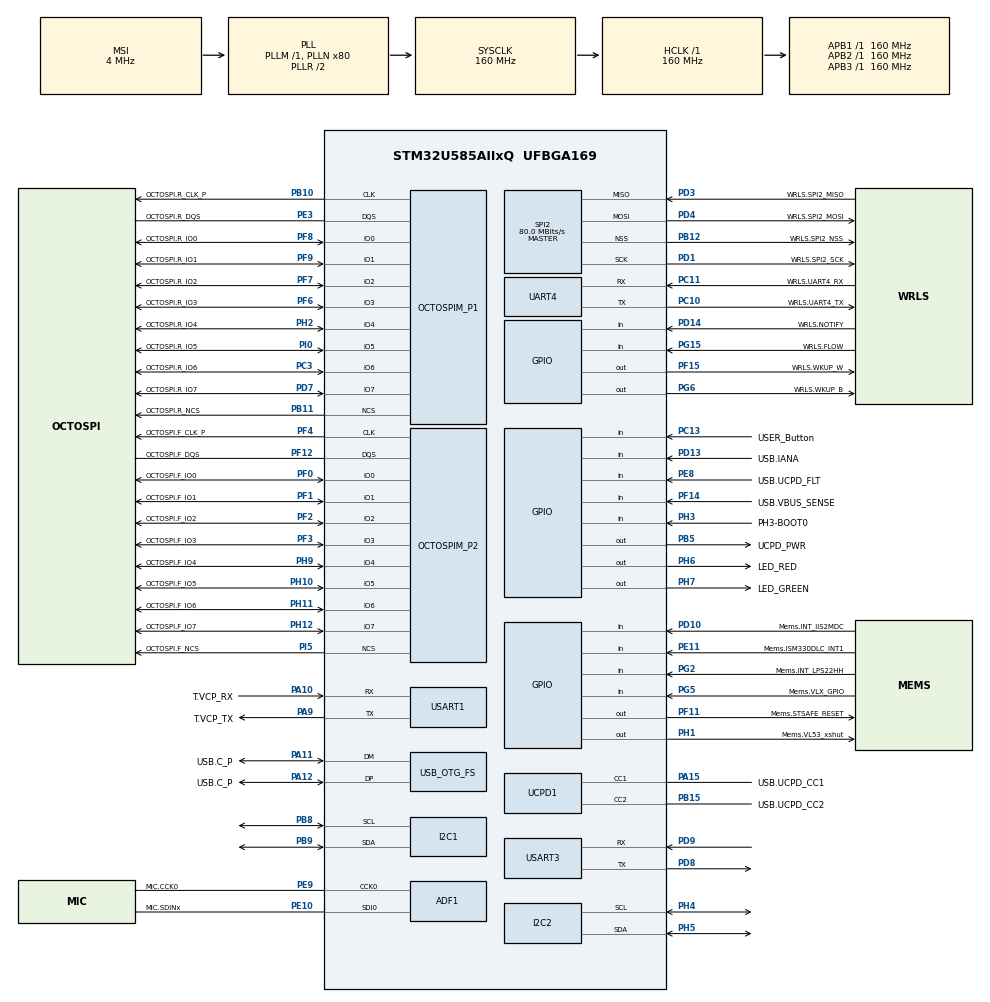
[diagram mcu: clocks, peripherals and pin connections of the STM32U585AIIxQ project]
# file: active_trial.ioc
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CORTEX_M33_NS.userName=CORTEX_M33
I2C1.Timing=0x30909DEC
I2C2.Timing=0x30909DEC
Mcu.Family=STM32U5
Mcu.Name=STM32U585AIIxQ
Mcu.Package=UFBGA169
NVIC.PriorityGroup=NVIC_PRIORITYGROUP_4
OCTOSPI1.ChipSelectBoundary=10
OCTOSPI1.ClockPrescaler=2
OCTOSPI1.DelayBlockBypass=HAL_OSPI_DELAY_BLOCK_USED
OCTOSPI1.DelayHoldQuarterCycle=HAL_OSPI_DHQC_ENABLE
OCTOSPI1.DeviceSize=23
OCTOSPI1.MemoryType=HAL_OSPI_MEMTYPE_APMEMORY
OCTOSPI1.Refresh=100
OCTOSPI2.ChipSelectBoundary=0
OCTOSPI2.ChipSelectHighTime=2
OCTOSPI2.ClockPrescaler=4
OCTOSPI2.DelayBlockBypass=HAL_OSPI_DELAY_BLOCK_USED
OCTOSPI2.DelayHoldQuarterCycle=HAL_OSPI_DHQC_ENABLE
OCTOSPI2.DeviceSize=26
OCTOSPI2.FifoThreshold=4
OCTOSPI2.MemoryType=HAL_OSPI_MEMTYPE_MACRONIX
PA10.GPIO_Label=T.VCP_RX
PA10.Mode=Asynchronous
PA10.Signal=USART1_RX
PA11.GPIO_Label=USB.C_P
PA11.Mode=Device_Only
PA11.Signal=USB_OTG_FS_DM
PA12.GPIO_Label=USB.C_P
PA12.Mode=Device_Only
PA12.Signal=USB_OTG_FS_DP
PA13\ (JTMS/SWDIO).GPIO_Label=T.SWDIO
PA13\ (JTMS/SWDIO).Mode=Trace_Asynchronous_SW
PA13\ (JTMS/SWDIO).Signal=DEBUG_JTMS-SWDIO
PA14\ (JTCK/SWCLK).GPIO_Label=T.SWCLK
PA14\ (JTCK/SWCLK).Mode=Trace_Asynchronous_SW
PA14\ (JTCK/SWCLK).Signal=DEBUG_JTCK-SWCLK
PA15\ (JTDI).GPIO_Label=USB.UCPD_CC1
PA15\ (JTDI).Mode=Dual_Role_AllSignals
PA15\ (JTDI).Signal=UCPD1_CC1
PA9.GPIO_Label=T.VCP_TX
PA9.Mode=Asynchronous
PA9.Signal=USART1_TX
PB1.GPIO_Label=MIC.SDIN0
PB1.Signal=MDF1_SDI0
PB10.GPIO_Label=OCTOSPI.R_CLK_P
PB10.Mode=O1_P1_CLK
PB10.Signal=OCTOSPIM_P1_CLK
PB11.GPIO_Label=OCTOSPI.R_NCS
PB11.Mode=OCTOSPI1_Port1_NCS
PB11.Signal=OCTOSPIM_P1_NCS
PB12.GPIO_Label=WRLS.SPI2_NSS
PB12.Mode=NSS_Signal_Hard_Output
PB12.Signal=SPI2_NSS
PB15.GPIO_Label=USB.UCPD_CC2
PB15.Mode=Dual_Role_AllSignals
PB15.Signal=UCPD1_CC2
PB3\ (JTDO/TRACESWO).GPIO_Label=T.SWO
PB3\ (JTDO/TRACESWO).Mode=Trace_Asynchronous_SW
PB3\ (JTDO/TRACESWO).Signal=DEBUG_JTDO-SWO
PB5.GPIO_Label=UCPD_PWR
PB5.Signal=GPIO_Output
PB8.Mode=I2C
PB8.Signal=I2C1_SCL
PB9.Mode=I2C
PB9.Signal=I2C1_SDA
PC10.GPIO_Label=WRLS.UART4_TX
PC10.Mode=Asynchronous
PC10.Signal=UART4_TX
PC11.GPIO_Label=WRLS.UART4_RX
PC11.Mode=Asynchronous
PC11.Signal=UART4_RX
PC13.GPIO_Label=USER_Button
PC13.Signal=GPIO_Input
PC14-OSC32_IN\ (PC14).GPIO_Label=PC14-OSC32_IN
PC14-OSC32_IN\ (PC14).Mode=LSE-External-Oscillator
PC14-OSC32_IN\ (PC14).Signal=RCC_OSC32_IN
PC15-OSC32_OUT\ (PC15).GPIO_Label=PC15-OSC32_OUT
PC15-OSC32_OUT\ (PC15).Mode=LSE-External-Oscillator
PC15-OSC32_OUT\ (PC15).Signal=RCC_OSC32_OUT
PC3.GPIO_Label=OCTOSPI.R_IO6
PC3.Mode=OCTOSPI1_IOH_Port1H
PC3.Signal=OCTOSPIM_P1_IO6
PD1.GPIO_Label=WRLS.SPI2_SCK
PD1.Mode=Full_Duplex_Master
PD1.Signal=SPI2_SCK
PD10.GPIO_Label=Mems.INT_IIS2MDC
PD10.Signal=GPIO_Input
PD13.GPIO_Label=USB.IANA
PD13.Signal=GPIO_Input
PD14.GPIO_Label=WRLS.NOTIFY
PD14.Signal=GPIO_Input
PD3.GPIO_Label=WRLS.SPI2_MISO
PD3.Mode=Full_Duplex_Master
PD3.Signal=SPI2_MISO
PD4.GPIO_Label=WRLS.SPI2_MOSI
PD4.Mode=Full_Duplex_Master
PD4.Signal=SPI2_MOSI
PD7.GPIO_Label=OCTOSPI.R_IO7
PD7.Mode=OCTOSPI1_IOH_Port1H
PD7.Signal=OCTOSPIM_P1_IO7
PD8.Mode=Asynchronous
PD8.Signal=USART3_TX
PD9.Mode=Asynchronous
PD9.Signal=USART3_RX
PE10.GPIO_Label=MIC.SDINx
PE10.Mode=MOD_ADF_CCK
PE10.Signal=ADF1_SDI0
PE11.GPIO_Label=Mems.ISM330DLC_INT1
PE11.Signal=GPIO_Input
PE3.GPIO_Label=OCTOSPI.R_DQS
PE3.Mode=OCTOSPI1_Port1_DQS
PE3.Signal=OCTOSPIM_P1_DQS
PE8.GPIO_Label=USB.UCPD_FLT
PE8.Signal=GPIO_Input
PE9.GPIO_Label=MIC.CCK0
PE9.Mode=MOD_MDF_CCK0
PE9.Signal=ADF1_CCK0
PF0.GPIO_Label=OCTOSPI.F_IO0
PF0.Mode=OCTOSPI2_IOL_Port2L
PF0.Signal=OCTOSPIM_P2_IO0
PF1.GPIO_Label=OCTOSPI.F_IO1
PF1.Mode=OCTOSPI2_IOL_Port2L
PF1.Signal=OCTOSPIM_P2_IO1
PF10.GPIO_Label=MIC.CCK1
PF10.Signal=MDF1_CCK1
PF11.GPIO_Label=Mems.STSAFE_RESET
PF11.Signal=GPIO_Output
PF12.GPIO_Label=OCTOSPI.F_DQS
PF12.Mode=OCTOSPI2_Port2_DQS
PF12.Signal=OCTOSPIM_P2_DQS
PF14.GPIO_Label=USB.VBUS_SENSE
PF14.Signal=GPIO_Input
PF15.GPIO_Label=WRLS.WKUP_W
PF15.Signal=GPIO_Output
PF2.GPIO_Label=OCTOSPI.F_IO2
PF2.Mode=OCTOSPI2_IOL_Port2L
PF2.Signal=OCTOSPIM_P2_IO2
PF3.GPIO_Label=OCTOSPI.F_IO3
PF3.Mode=OCTOSPI2_IOL_Port2L
PF3.Signal=OCTOSPIM_P2_IO3
PF4.GPIO_Label=OCTOSPI.F_CLK_P
PF4.Mode=O2_P2_CLK
PF4.Signal=OCTOSPIM_P2_CLK
PF6.GPIO_Label=OCTOSPI.R_IO3
PF6.Mode=OCTOSPI1_IOL_Port1L
PF6.Signal=OCTOSPIM_P1_IO3
PF7.GPIO_Label=OCTOSPI.R_IO2
PF7.Mode=OCTOSPI1_IOL_Port1L
PF7.Signal=OCTOSPIM_P1_IO2
PF8.GPIO_Label=OCTOSPI.R_IO0
PF8.Mode=OCTOSPI1_IOL_Port1L
PF8.Signal=OCTOSPIM_P1_IO0
PF9.GPIO_Label=OCTOSPI.R_IO1
PF9.Mode=OCTOSPI1_IOL_Port1L
PF9.Signal=OCTOSPIM_P1_IO1
PG15.GPIO_Label=WRLS.FLOW
PG15.Signal=GPIO_Input
PG2.GPIO_Label=Mems.INT_LPS22HH
PG2.Signal=GPIO_Input
PG5.GPIO_Label=Mems.VLX_GPIO
PG5.Signal=GPIO_Input
PG6.GPIO_Label=WRLS.WKUP_B
PG6.Signal=GPIO_Output
PH1-OSC_OUT\ (PH1).GPIO_Label=Mems.VL53_xshut
PH1-OSC_OUT\ (PH1).Signal=GPIO_Output
PH10.GPIO_Label=OCTOSPI.F_IO5
PH10.Mode=OCTOSPI2_IOH_Port2H
PH10.Signal=OCTOSPIM_P2_IO5
PH11.GPIO_Label=OCTOSPI.F_IO6
PH11.Mode=OCTOSPI2_IOH_Port2H
PH11.Signal=OCTOSPIM_P2_IO6
PH12.GPIO_Label=OCTOSPI.F_IO7
PH12.Mode=OCTOSPI2_IOH_Port2H
PH12.Signal=OCTOSPIM_P2_IO7
PH2.GPIO_Label=OCTOSPI.R_IO4
PH2.Mode=OCTOSPI1_IOH_Port1H
PH2.Signal=OCTOSPIM_P1_IO4
PH3-BOOT0.GPIO_Label=PH3-BOOT0
PH3-BOOT0.Signal=GPIO_Input
PH4.Mode=I2C
PH4.Signal=I2C2_SCL
PH5.Mode=I2C
PH5.Signal=I2C2_SDA
PH6.GPIO_Label=LED_RED
PH6.Signal=GPIO_Output
PH7.GPIO_Label=LED_GREEN
PH7.Signal=GPIO_Output
PH9.GPIO_Label=OCTOSPI.F_IO4
PH9.Mode=OCTOSPI2_IOH_Port2H
PH9.Signal=OCTOSPIM_P2_IO4
PI0.GPIO_Label=OCTOSPI.R_IO5
PI0.Mode=OCTOSPI1_IOH_Port1H
PI0.Signal=OCTOSPIM_P1_IO5
PI5.GPIO_Label=OCTOSPI.F_NCS
PI5.Mode=OCTOSPI2_Port2_NCS
PI5.Signal=OCTOSPIM_P2_NCS
PWR.PowerMode=PWR_SMPS_SUPPLY
ProjectManager.HeapSize=0x200
ProjectManager.StackSize=0x400
ProjectManager.TargetToolchain=STM32CubeIDE
RCC.ADCFreq_Value=16000000
RCC.AHBFreq_Value=160000000
RCC.APB1Freq_Value=160000000
RCC.APB1TimFreq_Value=160000000
RCC.APB2Freq_Value=160000000
RCC.APB2TimFreq_Value=160000000
RCC.APB3Freq_Value=160000000
RCC.CortexFreq_Value=160000000
RCC.DACCLockSelectionVirtual=RCC_DAC1CLKSOURCE_LSI
RCC.EPOD_VALUE=4000000
RCC.HCLKFreq_Value=160000000
RCC.HSE_VALUE=16000000
RCC.HSI48_VALUE=48000000
RCC.HSI_VALUE=16000000
RCC.LSIDIV_VALUE=32000
RCC.MSI_VALUE=4000000
RCC.PLLN=80
RCC.SYSCLKFreq_VALUE=160000000
RCC.SYSCLKSource=RCC_SYSCLKSOURCE_PLLCLK
RCC.USBFreq_Value=48000000
RCC.VCOOutputFreq_Value=320000000
SPI2.CalculateBaudRate=80.0 MBits/s
SPI2.Direction=SPI_DIRECTION_2LINES
SPI2.Mode=SPI_MODE_MASTER
SPI2.VirtualNSS=VM_NSSHARD
SPI2.VirtualType=VM_MASTER
USART1.VirtualMode-Asynchronous=VM_ASYNC
USART3.VirtualMode-Asynchronous=VM_ASYNC
USB_OTG_FS.VirtualMode=Device_Only
VP_ICACHE_VS_ICACHE.Mode=DirectMappedCache
VP_LPBAMQUEUE_VS_QUEUE.Mode=QUEUEMODE
VP_LPBAM_VS_SIG1.Mode=SmartRun
VP_LPBAM_VS_SIG4.Mode=LPDMA1
VP_MEMORYMAP_VS_MEMORYMAP.Mode=CurAppReg
VP_OCTOSPI1_VS_octo.Mode=octo_mode
VP_OCTOSPI2_VS_octo.Mode=octo_mode
VP_PWR_VS_DBSignals.Mode=DisableDeadBatterySignals
VP_PWR_VS_LPOM.Mode=PowerOptimisation
VP_PWR_VS_SECSignals.Mode=Security/Privilege
board=B-U585I-IOT02A

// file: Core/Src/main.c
/* USER CODE BEGIN Header */
/**
  ******************************************************************************
  * @file           : main.c
  * @brief          : Main program body
  ******************************************************************************
  * @attention
  *
  * Copyright (c) 2026 STMicroelectronics.
  * All rights reserved.
  *
  * This software is licensed under terms that can be found in the LICENSE file
  * in the root directory of this software component.
  * If no LICENSE file comes with this software, it is provided AS-IS.
  *
  ******************************************************************************
  */
/* USER CODE END Header */
#include "main.h"

MDF_HandleTypeDef AdfHandle0;
MDF_FilterConfigTypeDef AdfFilterConfig0;

I2C_HandleTypeDef hi2c1;
I2C_HandleTypeDef hi2c2;

OSPI_HandleTypeDef hospi1;
OSPI_HandleTypeDef hospi2;

SPI_HandleTypeDef hspi2;

UART_HandleTypeDef huart4;
UART_HandleTypeDef huart1;
UART_HandleTypeDef huart3;

PCD_HandleTypeDef hpcd_USB_OTG_FS;

/* USER CODE BEGIN PV */
/* USART3 Logic Analyzer Test - B-U585I-IOT02A */
#define TEST_PATTERN_INTERVAL  100U    /* ms between test patterns */

/* Dashboard output every N patterns */
#define DASHBOARD_INTERVAL     500U    /* ms between full dashboards */
#define BYTE_DISPLAY_INTERVAL  50U     /* ms between byte updates */

typedef enum {
    TEST_PATTERN_0x55 = 0,
    TEST_PATTERN_0xAA = 1,
    TEST_PATTERN_0xFF = 2,
    TEST_PATTERN_0x00 = 3,
    TEST_PATTERN_COUNTER = 4,
    TEST_PATTERN_ASCII = 5
} test_pattern_t;

static uint8_t rx_byte;
static test_pattern_t current_pattern = TEST_PATTERN_0x55;
static uint32_t last_pattern_tick = 0U;
static uint8_t test_counter = 0;
static char test_string[] = "LOGIC_ANALYZER_TEST\r\n";
static uint16_t test_string_idx = 0;
static uint32_t dash_counter = 0;

/* USER CODE END PV */

void SystemClock_Config(void);
static void SystemPower_Config(void);
static void MX_GPIO_Init(void);
static void MX_ADF1_Init(void);
static void MX_I2C1_Init(void);
static void MX_I2C2_Init(void);
static void MX_ICACHE_Init(void);
static void MX_OCTOSPI1_Init(void);
static void MX_OCTOSPI2_Init(void);
static void MX_SPI2_Init(void);
static void MX_UART4_Init(void);
static void MX_USART1_UART_Init(void);
static void MX_UCPD1_Init(void);
static void MX_USB_OTG_FS_PCD_Init(void);
static void MX_USART3_UART_Init(void);
/* USER CODE BEGIN PFP */

/* Pattern senders are inline in main loop now */

/* USER CODE END PFP */

int main(void)
{

  /* MCU Configuration--------------------------------------------------------*/

  /* Reset of all peripherals, Initializes the Flash interface and the Systick. */
  HAL_Init();

  /* Configure the System Power */
  SystemPower_Config();

  /* Configure the system clock */
  SystemClock_Config();

  /* Initialize all configured peripherals */
  MX_GPIO_Init();
  MX_ADF1_Init();
  MX_I2C1_Init();
  MX_I2C2_Init();
  MX_ICACHE_Init();
  MX_OCTOSPI1_Init();
  MX_OCTOSPI2_Init();
  MX_SPI2_Init();
  MX_UART4_Init();
  MX_USART1_UART_Init();
  MX_UCPD1_Init();
  MX_USB_OTG_FS_PCD_Init();
  MX_USART3_UART_Init();
  /* USER CODE BEGIN 2 */
  /* Fun startup banner via USART3 + USART1 (VCP) */
  const char *startup_lines[] = {
    "\r\n",
    "  _   _  ____   _  _  ____   ___  ____  ___  ____\r\n",
    " | \\ | |/ ___| | || || ___| / _ \\|  _ \\|_ _||  _ \\  \r\n",
    " |  \\| |\\___ \\ | || |||__  | | | | |_) || | | | | |\r\n",
    " |_|\\__||____| |_||_||____||_|_|_|____/|___||_| |_|\r\n",
    "       ANALYZER  -  LIVE DASHBOARD -\r\n",
    " ==================================================\r\n",
    "  Board  : B-U585I-IOT02A IoT Discovery\r\n",
    "  UART   : USART3  (PD8=TX, PD9=RX)\r\n",
    "  Speed  : 115200 baud  8N1\r\n",
    "  Probes : CH0=D8  CH1=D9  GND=GND\r\n",
    " ==================================================\r\n",
    "  Patterns cycling: 0x55 | 0xAA | 0xFF | 0x00 | CNT | ASCII\r\n",
    "  HIL Ready! Watching signals now...\r\n",
    " ==================================================\r\n\r\n",
  };
  for (size_t i = 0; i < sizeof(startup_lines)/sizeof(startup_lines[0]); i++) {
    size_t len = 0; while (startup_lines[i][len]) len++;
    (void)HAL_UART_Transmit(&huart3, (uint8_t *)startup_lines[i], len, HAL_MAX_DELAY);
    (void)HAL_UART_Transmit(&huart1, (uint8_t *)startup_lines[i], len, HAL_MAX_DELAY);
  }
  /* USER CODE END 2 */

  /* Infinite loop */
  while (1)
  {

    /* USER CODE BEGIN 3 */
    /* Poll for incoming USART3 RX byte (non-blocking) */
    if (HAL_UART_Receive(&huart3, &rx_byte, 1, 0) == HAL_OK)
    {
      /* Echo received byte */
      (void)HAL_UART_Transmit(&huart3, &rx_byte, 1, HAL_MAX_DELAY);
      (void)HAL_UART_Transmit(&huart1, &rx_byte, 1, HAL_MAX_DELAY);

      /* Change pattern based on received command (keys '0'-'5') */
      if (rx_byte >= '0' && rx_byte <= '5')
      {
        current_pattern = (test_pattern_t)(rx_byte - '0');
      }
    }

    /* Send live visual dashboard every TEST_PATTERN_INTERVAL ms */
    uint32_t now = HAL_GetTick();
    if ((now - last_pattern_tick) >= TEST_PATTERN_INTERVAL)
    {
      last_pattern_tick = now;

      /* Build compact visual dashboard: [0x55] H=55 B=01010101 'U' WF=-_-_-_-_-_  #047\r\n */
      uint8_t dash_buf[64];
      uint8_t dl = 0;

      /* Helper: add one char to buffer */
      #define DASH(c) do { if (dl < 62) dash_buf[dl++] = (c); } while(0)

      /* Determine pattern name and byte value */
      const uint8_t *pname;
      uint8_t bval;
      switch (current_pattern)
      {
        case TEST_PATTERN_0x55:  pname = (uint8_t *)"[0x55]"; bval = 0x55; break;
        case TEST_PATTERN_0xAA:  pname = (uint8_t *)"[0xAA]"; bval = 0xAA; break;
        case TEST_PATTERN_0xFF:  pname = (uint8_t *)"[0xFF]"; bval = 0xFF; break;
        case TEST_PATTERN_0x00:  pname = (uint8_t *)"[0x00]"; bval = 0x00; break;
        case TEST_PATTERN_COUNTER: {
          uint8_t hi = (test_counter >> 4) & 0x0F;
          uint8_t lo = test_counter & 0x0F;
          char h0 = (hi < 10) ? ('0' + hi) : ('A' + hi - 10);
          char h1 = (lo < 10) ? ('0' + lo) : ('A' + lo - 10);
          DASH('['); DASH('C'); DASH('N'); DASH('T'); DASH(']'); DASH(' ');
          DASH(h0); DASH(h1); DASH(' ');
          DASH('\r'); DASH('\n');
          (void)HAL_UART_Transmit(&huart3, dash_buf, dl, HAL_MAX_DELAY);
          (void)HAL_UART_Transmit(&huart1, dash_buf, dl, HAL_MAX_DELAY);
          test_counter++;
          goto cycle_next;
        }
        case TEST_PATTERN_ASCII: {
          uint8_t c = (uint8_t)test_string[test_string_idx];
          DASH('['); DASH('A'); DASH('S'); DASH('C'); DASH('I'); DASH('I'); DASH(']');
          DASH(' ');
          DASH(c);  /* raw ASCII char */
          DASH(' ');
          DASH('\r'); DASH('\n');
          (void)HAL_UART_Transmit(&huart3, dash_buf, dl, HAL_MAX_DELAY);
          (void)HAL_UART_Transmit(&huart1, dash_buf, dl, HAL_MAX_DELAY);
          test_string_idx++;
          if (test_string_idx >= sizeof(test_string)) test_string_idx = 0;
          goto cycle_next;
        }
        default: pname = (uint8_t *)"[????]"; bval = 0x00; break;
      }

      /* Copy pattern name */
      for (uint8_t i = 0; pname[i]; i++) DASH(pname[i]);
      DASH(' ');

      /* Hex value (2 chars) */
      uint8_t hi = (bval >> 4) & 0x0F;
      uint8_t lo = bval & 0x0F;
      DASH(hi < 10 ? ('0' + hi) : ('A' + hi - 10));
      DASH(lo < 10 ? ('0' + lo) : ('A' + lo - 10));
      DASH(' ');

      /* Binary: 8 bits */
      for (int8_t bit = 7; bit >= 0; bit--) {
        DASH((bval & (1u << bit)) ? '1' : '0');
      }
      DASH(' ');

      /* ASCII char */
      if (32 <= bval && bval < 127) {
        DASH('\''); DASH(bval); DASH('\'');
      } else {
        DASH('.'); DASH('.');
      }
      DASH(' ');

      /* Waveform: start + 8 data + stop bits as _/- chars */
      DASH('_');  /* start bit = low */
      for (uint8_t bit = 0; bit < 8; bit++) {
        DASH((bval & (1u << bit)) ? '-' : '_');
      }
      DASH('-');  /* stop bit = high */

      /* Step counter */
      DASH(' '); DASH('#');
      uint32_t dc = dash_counter;
      if (dc >= 1000) { DASH('K'); dc /= 1000; }
      char cnt_buf[8];
      uint8_t cb_len = 0;
      if (dc >= 100) { cnt_buf[cb_len++] = '0' + dc / 100; dc %= 100; }
      if (dc >= 10 || cb_len > 0) { cnt_buf[cb_len++] = '0' + dc / 10; dc %= 10; }
      cnt_buf[cb_len++] = '0' + dc;
      for (uint8_t i = 0; i < cb_len; i++) DASH(cnt_buf[i]);

      DASH('\r'); DASH('\n');

      (void)HAL_UART_Transmit(&huart3, dash_buf, dl, HAL_MAX_DELAY);
      (void)HAL_UART_Transmit(&huart1, dash_buf, dl, HAL_MAX_DELAY);

cycle_next:
      current_pattern = (test_pattern_t)((current_pattern + 1) % 6);
      dash_counter++;
    }
    /* USER CODE END 3 */
  }
  /* USER CODE END WHILE */
}

void SystemClock_Config(void)
{
  RCC_OscInitTypeDef RCC_OscInitStruct = {0};
  RCC_ClkInitTypeDef RCC_ClkInitStruct = {0};

  /** Configure the main internal regulator output voltage
  */
  if (HAL_PWREx_ControlVoltageScaling(PWR_REGULATOR_VOLTAGE_SCALE1) != HAL_OK)
  {
    Error_Handler();
  }

  /** Initializes the CPU, AHB and APB buses clocks
  */
  RCC_OscInitStruct.OscillatorType = RCC_OSCILLATORTYPE_HSI48|RCC_OSCILLATORTYPE_HSI
                              |RCC_OSCILLATORTYPE_MSI;
  RCC_OscInitStruct.HSIState = RCC_HSI_ON;
  RCC_OscInitStruct.HSI48State = RCC_HSI48_ON;
  RCC_OscInitStruct.HSICalibrationValue = RCC_HSICALIBRATION_DEFAULT;
  RCC_OscInitStruct.MSIState = RCC_MSI_ON;
  RCC_OscInitStruct.MSICalibrationValue = RCC_MSICALIBRATION_DEFAULT;
  RCC_OscInitStruct.MSIClockRange = RCC_MSIRANGE_4;
  RCC_OscInitStruct.PLL.PLLState = RCC_PLL_ON;
  RCC_OscInitStruct.PLL.PLLSource = RCC_PLLSOURCE_MSI;
  RCC_OscInitStruct.PLL.PLLMBOOST = RCC_PLLMBOOST_DIV1;
  RCC_OscInitStruct.PLL.PLLM = 1;
  RCC_OscInitStruct.PLL.PLLN = 80;
  RCC_OscInitStruct.PLL.PLLP = 2;
  RCC_OscInitStruct.PLL.PLLQ = 2;
  RCC_OscInitStruct.PLL.PLLR = 2;
  RCC_OscInitStruct.PLL.PLLRGE = RCC_PLLVCIRANGE_0;
  RCC_OscInitStruct.PLL.PLLFRACN = 0;
  if (HAL_RCC_OscConfig(&RCC_OscInitStruct) != HAL_OK)
  {
    Error_Handler();
  }

  /** Initializes the CPU, AHB and APB buses clocks
  */
  RCC_ClkInitStruct.ClockType = RCC_CLOCKTYPE_HCLK|RCC_CLOCKTYPE_SYSCLK
                              |RCC_CLOCKTYPE_PCLK1|RCC_CLOCKTYPE_PCLK2
                              |RCC_CLOCKTYPE_PCLK3;
  RCC_ClkInitStruct.SYSCLKSource = RCC_SYSCLKSOURCE_PLLCLK;
  RCC_ClkInitStruct.AHBCLKDivider = RCC_SYSCLK_DIV1;
  RCC_ClkInitStruct.APB1CLKDivider = RCC_HCLK_DIV1;
  RCC_ClkInitStruct.APB2CLKDivider = RCC_HCLK_DIV1;
  RCC_ClkInitStruct.APB3CLKDivider = RCC_HCLK_DIV1;

  if (HAL_RCC_ClockConfig(&RCC_ClkInitStruct, FLASH_LATENCY_4) != HAL_OK)
  {
    Error_Handler();
  }
}

/**
  * @brief Power Configuration
  * @retval None
  */
static void SystemPower_Config(void)
{
  HAL_PWREx_EnableVddIO2();

  /*
   * Switch to SMPS regulator instead of LDO
   */
  if (HAL_PWREx_ConfigSupply(PWR_SMPS_SUPPLY) != HAL_OK)
  {
    Error_Handler();
  }
}

static void MX_ADF1_Init(void)
{

  /**
    AdfHandle0 structure initialization and HAL_MDF_Init function call
  */
  AdfHandle0.Instance = ADF1_Filter0;
  AdfHandle0.Init.CommonParam.ProcClockDivider = 1;
  AdfHandle0.Init.CommonParam.OutputClock.Activation = DISABLE;
  AdfHandle0.Init.SerialInterface.Activation = ENABLE;
  AdfHandle0.Init.SerialInterface.Mode = MDF_SITF_LF_MASTER_SPI_MODE;
  AdfHandle0.Init.SerialInterface.ClockSource = MDF_SITF_CCK0_SOURCE;
  AdfHandle0.Init.SerialInterface.Threshold = 4;
  AdfHandle0.Init.FilterBistream = MDF_BITSTREAM0_FALLING;
  if (HAL_MDF_Init(&AdfHandle0) != HAL_OK)
  {
    Error_Handler();
  }

  /**
    AdfFilterConfig0 structure initialization

    WARNING : only structure is filled, no specific init function call for filter
  */
  AdfFilterConfig0.DataSource = MDF_DATA_SOURCE_BSMX;
  AdfFilterConfig0.Delay = 0;
  AdfFilterConfig0.CicMode = MDF_ONE_FILTER_SINC4;
  AdfFilterConfig0.DecimationRatio = 2;
  AdfFilterConfig0.Gain = 0;
  AdfFilterConfig0.ReshapeFilter.Activation = DISABLE;
  AdfFilterConfig0.HighPassFilter.Activation = DISABLE;
  AdfFilterConfig0.SoundActivity.Activation = DISABLE;
  AdfFilterConfig0.AcquisitionMode = MDF_MODE_ASYNC_CONT;
  AdfFilterConfig0.FifoThreshold = MDF_FIFO_THRESHOLD_NOT_EMPTY;
  AdfFilterConfig0.DiscardSamples = 0;

}

static void MX_I2C1_Init(void)
{

  hi2c1.Instance = I2C1;
  hi2c1.Init.Timing = 0x30909DEC;
  hi2c1.Init.OwnAddress1 = 0;
  hi2c1.Init.AddressingMode = I2C_ADDRESSINGMODE_7BIT;
  hi2c1.Init.DualAddressMode = I2C_DUALADDRESS_DISABLE;
  hi2c1.Init.OwnAddress2 = 0;
  hi2c1.Init.OwnAddress2Masks = I2C_OA2_NOMASK;
  hi2c1.Init.GeneralCallMode = I2C_GENERALCALL_DISABLE;
  hi2c1.Init.NoStretchMode = I2C_NOSTRETCH_DISABLE;
  if (HAL_I2C_Init(&hi2c1) != HAL_OK)
  {
    Error_Handler();
  }

  /** Configure Analogue filter
  */
  if (HAL_I2CEx_ConfigAnalogFilter(&hi2c1, I2C_ANALOGFILTER_ENABLE) != HAL_OK)
  {
    Error_Handler();
  }

  /** Configure Digital filter
  */
  if (HAL_I2CEx_ConfigDigitalFilter(&hi2c1, 0) != HAL_OK)
  {
    Error_Handler();
  }

}

static void MX_I2C2_Init(void)
{

  hi2c2.Instance = I2C2;
  hi2c2.Init.Timing = 0x30909DEC;
  hi2c2.Init.OwnAddress1 = 0;
  hi2c2.Init.AddressingMode = I2C_ADDRESSINGMODE_7BIT;
  hi2c2.Init.DualAddressMode = I2C_DUALADDRESS_DISABLE;
  hi2c2.Init.OwnAddress2 = 0;
  hi2c2.Init.OwnAddress2Masks = I2C_OA2_NOMASK;
  hi2c2.Init.GeneralCallMode = I2C_GENERALCALL_DISABLE;
  hi2c2.Init.NoStretchMode = I2C_NOSTRETCH_DISABLE;
  if (HAL_I2C_Init(&hi2c2) != HAL_OK)
  {
    Error_Handler();
  }

  /** Configure Analogue filter
  */
  if (HAL_I2CEx_ConfigAnalogFilter(&hi2c2, I2C_ANALOGFILTER_ENABLE) != HAL_OK)
  {
    Error_Handler();
  }

  /** Configure Digital filter
  */
  if (HAL_I2CEx_ConfigDigitalFilter(&hi2c2, 0) != HAL_OK)
  {
    Error_Handler();
  }

}

static void MX_ICACHE_Init(void)
{

  /** Enable instruction cache in 1-way (direct mapped cache)
  */
  if (HAL_ICACHE_ConfigAssociativityMode(ICACHE_1WAY) != HAL_OK)
  {
    Error_Handler();
  }
  if (HAL_ICACHE_Enable() != HAL_OK)
  {
    Error_Handler();
  }

}

static void MX_OCTOSPI1_Init(void)
{

  OSPIM_CfgTypeDef sOspiManagerCfg = {0};
  HAL_OSPI_DLYB_CfgTypeDef HAL_OSPI_DLYB_Cfg_Struct = {0};

  /* OCTOSPI1 parameter configuration*/
  hospi1.Instance = OCTOSPI1;
  hospi1.Init.FifoThreshold = 1;
  hospi1.Init.DualQuad = HAL_OSPI_DUALQUAD_DISABLE;
  hospi1.Init.MemoryType = HAL_OSPI_MEMTYPE_APMEMORY;
  hospi1.Init.DeviceSize = 23;
  hospi1.Init.ChipSelectHighTime = 1;
  hospi1.Init.FreeRunningClock = HAL_OSPI_FREERUNCLK_DISABLE;
  hospi1.Init.ClockMode = HAL_OSPI_CLOCK_MODE_0;
  hospi1.Init.WrapSize = HAL_OSPI_WRAP_NOT_SUPPORTED;
  hospi1.Init.ClockPrescaler = 2;
  hospi1.Init.SampleShifting = HAL_OSPI_SAMPLE_SHIFTING_NONE;
  hospi1.Init.DelayHoldQuarterCycle = HAL_OSPI_DHQC_ENABLE;
  hospi1.Init.ChipSelectBoundary = 10;
  hospi1.Init.DelayBlockBypass = HAL_OSPI_DELAY_BLOCK_USED;
  hospi1.Init.MaxTran = 0;
  hospi1.Init.Refresh = 100;
  if (HAL_OSPI_Init(&hospi1) != HAL_OK)
  {
    Error_Handler();
  }
  sOspiManagerCfg.ClkPort = 1;
  sOspiManagerCfg.DQSPort = 1;
  sOspiManagerCfg.NCSPort = 1;
  sOspiManagerCfg.IOLowPort = HAL_OSPIM_IOPORT_1_LOW;
  sOspiManagerCfg.IOHighPort = HAL_OSPIM_IOPORT_1_HIGH;
  if (HAL_OSPIM_Config(&hospi1, &sOspiManagerCfg, HAL_OSPI_TIMEOUT_DEFAULT_VALUE) != HAL_OK)
  {
    Error_Handler();
  }
  HAL_OSPI_DLYB_Cfg_Struct.Units = 0;
  HAL_OSPI_DLYB_Cfg_Struct.PhaseSel = 0;
  if (HAL_OSPI_DLYB_SetConfig(&hospi1, &HAL_OSPI_DLYB_Cfg_Struct) != HAL_OK)
  {
    Error_Handler();
  }

}

static void MX_OCTOSPI2_Init(void)
{

  OSPIM_CfgTypeDef sOspiManagerCfg = {0};
  HAL_OSPI_DLYB_CfgTypeDef HAL_OSPI_DLYB_Cfg_Struct = {0};

  /* OCTOSPI2 parameter configuration*/
  hospi2.Instance = OCTOSPI2;
  hospi2.Init.FifoThreshold = 4;
  hospi2.Init.DualQuad = HAL_OSPI_DUALQUAD_DISABLE;
  hospi2.Init.MemoryType = HAL_OSPI_MEMTYPE_MACRONIX;
  hospi2.Init.DeviceSize = 26;
  hospi2.Init.ChipSelectHighTime = 2;
  hospi2.Init.FreeRunningClock = HAL_OSPI_FREERUNCLK_DISABLE;
  hospi2.Init.ClockMode = HAL_OSPI_CLOCK_MODE_0;
  hospi2.Init.WrapSize = HAL_OSPI_WRAP_NOT_SUPPORTED;
  hospi2.Init.ClockPrescaler = 4;
  hospi2.Init.SampleShifting = HAL_OSPI_SAMPLE_SHIFTING_NONE;
  hospi2.Init.DelayHoldQuarterCycle = HAL_OSPI_DHQC_ENABLE;
  hospi2.Init.ChipSelectBoundary = 0;
  hospi2.Init.DelayBlockBypass = HAL_OSPI_DELAY_BLOCK_USED;
  hospi2.Init.MaxTran = 0;
  hospi2.Init.Refresh = 0;
  if (HAL_OSPI_Init(&hospi2) != HAL_OK)
  {
    Error_Handler();
  }
  sOspiManagerCfg.ClkPort = 2;
  sOspiManagerCfg.DQSPort = 2;
  sOspiManagerCfg.NCSPort = 2;
  sOspiManagerCfg.IOLowPort = HAL_OSPIM_IOPORT_2_LOW;
  sOspiManagerCfg.IOHighPort = HAL_OSPIM_IOPORT_2_HIGH;
  if (HAL_OSPIM_Config(&hospi2, &sOspiManagerCfg, HAL_OSPI_TIMEOUT_DEFAULT_VALUE) != HAL_OK)
  {
    Error_Handler();
  }
  HAL_OSPI_DLYB_Cfg_Struct.Units = 0;
  HAL_OSPI_DLYB_Cfg_Struct.PhaseSel = 0;
  if (HAL_OSPI_DLYB_SetConfig(&hospi2, &HAL_OSPI_DLYB_Cfg_Struct) != HAL_OK)
  {
    Error_Handler();
  }

}

static void MX_SPI2_Init(void)
{

  SPI_AutonomousModeConfTypeDef HAL_SPI_AutonomousMode_Cfg_Struct = {0};

  /* SPI2 parameter configuration*/
  hspi2.Instance = SPI2;
  hspi2.Init.Mode = SPI_MODE_MASTER;
  hspi2.Init.Direction = SPI_DIRECTION_2LINES;
  hspi2.Init.DataSize = SPI_DATASIZE_4BIT;
  hspi2.Init.CLKPolarity = SPI_POLARITY_LOW;
  hspi2.Init.CLKPhase = SPI_PHASE_1EDGE;
  hspi2.Init.NSS = SPI_NSS_HARD_OUTPUT;
  hspi2.Init.BaudRatePrescaler = SPI_BAUDRATEPRESCALER_2;
  hspi2.Init.FirstBit = SPI_FIRSTBIT_MSB;
  hspi2.Init.TIMode = SPI_TIMODE_DISABLE;
  hspi2.Init.CRCCalculation = SPI_CRCCALCULATION_DISABLE;
  hspi2.Init.CRCPolynomial = 0x7;
  hspi2.Init.NSSPMode = SPI_NSS_PULSE_ENABLE;
  hspi2.Init.NSSPolarity = SPI_NSS_POLARITY_LOW;
  hspi2.Init.FifoThreshold = SPI_FIFO_THRESHOLD_01DATA;
  hspi2.Init.MasterSSIdleness = SPI_MASTER_SS_IDLENESS_00CYCLE;
  hspi2.Init.MasterInterDataIdleness = SPI_MASTER_INTERDATA_IDLENESS_00CYCLE;
  hspi2.Init.MasterReceiverAutoSusp = SPI_MASTER_RX_AUTOSUSP_DISABLE;
  hspi2.Init.MasterKeepIOState = SPI_MASTER_KEEP_IO_STATE_DISABLE;
  hspi2.Init.IOSwap = SPI_IO_SWAP_DISABLE;
  hspi2.Init.ReadyMasterManagement = SPI_RDY_MASTER_MANAGEMENT_INTERNALLY;
  hspi2.Init.ReadyPolarity = SPI_RDY_POLARITY_HIGH;
  if (HAL_SPI_Init(&hspi2) != HAL_OK)
  {
    Error_Handler();
  }
  HAL_SPI_AutonomousMode_Cfg_Struct.TriggerState = SPI_AUTO_MODE_DISABLE;
  HAL_SPI_AutonomousMode_Cfg_Struct.TriggerSelection = SPI_GRP1_GPDMA_CH0_TCF_TRG;
  HAL_SPI_AutonomousMode_Cfg_Struct.TriggerPolarity = SPI_TRIG_POLARITY_RISING;
  if (HAL_SPIEx_SetConfigAutonomousMode(&hspi2, &HAL_SPI_AutonomousMode_Cfg_Struct) != HAL_OK)
  {
    Error_Handler();
  }

}

static void MX_UART4_Init(void)
{

  huart4.Instance = UART4;
  huart4.Init.BaudRate = 115200;
  huart4.Init.WordLength = UART_WORDLENGTH_8B;
  huart4.Init.StopBits = UART_STOPBITS_1;
  huart4.Init.Parity = UART_PARITY_NONE;
  huart4.Init.Mode = UART_MODE_TX_RX;
  huart4.Init.HwFlowCtl = UART_HWCONTROL_NONE;
  huart4.Init.OverSampling = UART_OVERSAMPLING_16;
  huart4.Init.OneBitSampling = UART_ONE_BIT_SAMPLE_DISABLE;
  huart4.Init.ClockPrescaler = UART_PRESCALER_DIV1;
  huart4.AdvancedInit.AdvFeatureInit = UART_ADVFEATURE_NO_INIT;
  if (HAL_UART_Init(&huart4) != HAL_OK)
  {
    Error_Handler();
  }
  if (HAL_UARTEx_SetTxFifoThreshold(&huart4, UART_TXFIFO_THRESHOLD_1_8) != HAL_OK)
  {
    Error_Handler();
  }
  if (HAL_UARTEx_SetRxFifoThreshold(&huart4, UART_RXFIFO_THRESHOLD_1_8) != HAL_OK)
  {
    Error_Handler();
  }
  if (HAL_UARTEx_DisableFifoMode(&huart4) != HAL_OK)
  {
    Error_Handler();
  }

}

static void MX_USART1_UART_Init(void)
{

  huart1.Instance = USART1;
  huart1.Init.BaudRate = 115200;
  huart1.Init.WordLength = UART_WORDLENGTH_8B;
  huart1.Init.StopBits = UART_STOPBITS_1;
  huart1.Init.Parity = UART_PARITY_NONE;
  huart1.Init.Mode = UART_MODE_TX_RX;
  huart1.Init.HwFlowCtl = UART_HWCONTROL_NONE;
  huart1.Init.OverSampling = UART_OVERSAMPLING_16;
  huart1.Init.OneBitSampling = UART_ONE_BIT_SAMPLE_DISABLE;
  huart1.Init.ClockPrescaler = UART_PRESCALER_DIV1;
  huart1.AdvancedInit.AdvFeatureInit = UART_ADVFEATURE_NO_INIT;
  if (HAL_UART_Init(&huart1) != HAL_OK)
  {
    Error_Handler();
  }
  if (HAL_UARTEx_SetTxFifoThreshold(&huart1, UART_TXFIFO_THRESHOLD_1_8) != HAL_OK)
  {
    Error_Handler();
  }
  if (HAL_UARTEx_SetRxFifoThreshold(&huart1, UART_RXFIFO_THRESHOLD_1_8) != HAL_OK)
  {
    Error_Handler();
  }
  if (HAL_UARTEx_DisableFifoMode(&huart1) != HAL_OK)
  {
    Error_Handler();
  }

}

static void MX_USART3_UART_Init(void)
{

  /* USER CODE BEGIN USART3_Init 1 */
  /* Enable USART3 and GPIOD clocks */
  __HAL_RCC_USART3_CLK_ENABLE();
  __HAL_RCC_GPIOD_CLK_ENABLE();
  /* USER CODE END USART3_Init 1 */
  huart3.Instance = USART3;
  huart3.Init.BaudRate = 115200;
  huart3.Init.WordLength = UART_WORDLENGTH_8B;
  huart3.Init.StopBits = UART_STOPBITS_1;
  huart3.Init.Parity = UART_PARITY_NONE;
  huart3.Init.Mode = UART_MODE_TX_RX;
  huart3.Init.HwFlowCtl = UART_HWCONTROL_NONE;
  huart3.Init.OverSampling = UART_OVERSAMPLING_16;
  huart3.Init.OneBitSampling = UART_ONE_BIT_SAMPLE_DISABLE;
  huart3.Init.ClockPrescaler = UART_PRESCALER_DIV1;
  huart3.AdvancedInit.AdvFeatureInit = UART_ADVFEATURE_NO_INIT;
  if (HAL_UART_Init(&huart3) != HAL_OK)
  {
    Error_Handler();
  }
  if (HAL_UARTEx_SetTxFifoThreshold(&huart3, UART_TXFIFO_THRESHOLD_1_8) != HAL_OK)
  {
    Error_Handler();
  }
  if (HAL_UARTEx_SetRxFifoThreshold(&huart3, UART_RXFIFO_THRESHOLD_1_8) != HAL_OK)
  {
    Error_Handler();
  }
  if (HAL_UARTEx_DisableFifoMode(&huart3) != HAL_OK)
  {
    Error_Handler();
  }

}

static void MX_UCPD1_Init(void)
{

  LL_GPIO_InitTypeDef GPIO_InitStruct = {0};

  /* Peripheral clock enable */
  LL_APB1_GRP2_EnableClock(LL_APB1_GRP2_PERIPH_UCPD1);

  LL_AHB2_GRP1_EnableClock(LL_AHB2_GRP1_PERIPH_GPIOA);
  LL_AHB2_GRP1_EnableClock(LL_AHB2_GRP1_PERIPH_GPIOB);
  /**UCPD1 GPIO Configuration
  PA15 (JTDI)   ------> UCPD1_CC1
  PB15   ------> UCPD1_CC2
  */
  GPIO_InitStruct.Pin = LL_GPIO_PIN_15;
  GPIO_InitStruct.Mode = LL_GPIO_MODE_ANALOG;
  GPIO_InitStruct.Pull = LL_GPIO_PULL_NO;
  LL_GPIO_Init(GPIOA, &GPIO_InitStruct);

  GPIO_InitStruct.Pin = LL_GPIO_PIN_15;
  GPIO_InitStruct.Mode = LL_GPIO_MODE_ANALOG;
  GPIO_InitStruct.Pull = LL_GPIO_PULL_NO;
  LL_GPIO_Init(GPIOB, &GPIO_InitStruct);

}

static void MX_USB_OTG_FS_PCD_Init(void)
{

  hpcd_USB_OTG_FS.Instance = USB_OTG_FS;
  hpcd_USB_OTG_FS.Init.dev_endpoints = 6;
  hpcd_USB_OTG_FS.Init.speed = PCD_SPEED_FULL;
  hpcd_USB_OTG_FS.Init.phy_itface = PCD_PHY_EMBEDDED;
  hpcd_USB_OTG_FS.Init.Sof_enable = DISABLE;
  hpcd_USB_OTG_FS.Init.low_power_enable = DISABLE;
  hpcd_USB_OTG_FS.Init.lpm_enable = DISABLE;
  hpcd_USB_OTG_FS.Init.battery_charging_enable = DISABLE;
  hpcd_USB_OTG_FS.Init.use_dedicated_ep1 = DISABLE;
  hpcd_USB_OTG_FS.Init.vbus_sensing_enable = DISABLE;
  hpcd_USB_OTG_FS.Init.dma_enable = DISABLE;
  if (HAL_PCD_Init(&hpcd_USB_OTG_FS) != HAL_OK)
  {
    Error_Handler();
  }

}

static void MX_GPIO_Init(void)
{
  GPIO_InitTypeDef GPIO_InitStruct = {0};

  /* GPIO Ports Clock Enable */
  __HAL_RCC_GPIOG_CLK_ENABLE();
  __HAL_RCC_GPIOC_CLK_ENABLE();
  __HAL_RCC_GPIOA_CLK_ENABLE();
  __HAL_RCC_GPIOI_CLK_ENABLE();
  __HAL_RCC_GPIOH_CLK_ENABLE();
  __HAL_RCC_GPIOB_CLK_ENABLE();
  __HAL_RCC_GPIOD_CLK_ENABLE();
  __HAL_RCC_GPIOE_CLK_ENABLE();
  __HAL_RCC_GPIOF_CLK_ENABLE();

  /*Configure GPIO pin Output Level */
  HAL_GPIO_WritePin(UCPD_PWR_GPIO_Port, UCPD_PWR_Pin, GPIO_PIN_RESET);

  /*Configure GPIO pin Output Level */
  HAL_GPIO_WritePin(GPIOH, LED_RED_Pin|LED_GREEN_Pin|Mems_VL53_xshut_Pin, GPIO_PIN_RESET);

  /*Configure GPIO pin Output Level */
  HAL_GPIO_WritePin(WRLS_WKUP_B_GPIO_Port, WRLS_WKUP_B_Pin, GPIO_PIN_RESET);

  /*Configure GPIO pin Output Level */
  HAL_GPIO_WritePin(GPIOF, Mems_STSAFE_RESET_Pin|WRLS_WKUP_W_Pin, GPIO_PIN_RESET);

  /*Configure GPIO pins : WRLS_FLOW_Pin Mems_VLX_GPIO_Pin Mems_INT_LPS22HH_Pin */
  GPIO_InitStruct.Pin = WRLS_FLOW_Pin|Mems_VLX_GPIO_Pin|Mems_INT_LPS22HH_Pin;
  GPIO_InitStruct.Mode = GPIO_MODE_INPUT;
  GPIO_InitStruct.Pull = GPIO_NOPULL;
  HAL_GPIO_Init(GPIOG, &GPIO_InitStruct);

  /*Configure GPIO pin : PH3_BOOT0_Pin */
  GPIO_InitStruct.Pin = PH3_BOOT0_Pin;
  GPIO_InitStruct.Mode = GPIO_MODE_INPUT;
  GPIO_InitStruct.Pull = GPIO_NOPULL;
  HAL_GPIO_Init(PH3_BOOT0_GPIO_Port, &GPIO_InitStruct);

  /*Configure GPIO pin : UCPD_PWR_Pin */
  GPIO_InitStruct.Pin = UCPD_PWR_Pin;
  GPIO_InitStruct.Mode = GPIO_MODE_OUTPUT_PP;
  GPIO_InitStruct.Pull = GPIO_NOPULL;
  GPIO_InitStruct.Speed = GPIO_SPEED_FREQ_LOW;
  HAL_GPIO_Init(UCPD_PWR_GPIO_Port, &GPIO_InitStruct);

  /*Configure GPIO pin : USER_Button_Pin */
  GPIO_InitStruct.Pin = USER_Button_Pin;
  GPIO_InitStruct.Mode = GPIO_MODE_INPUT;
  GPIO_InitStruct.Pull = GPIO_NOPULL;
  HAL_GPIO_Init(USER_Button_GPIO_Port, &GPIO_InitStruct);

  /*Configure GPIO pins : LED_RED_Pin LED_GREEN_Pin Mems_VL53_xshut_Pin */
  GPIO_InitStruct.Pin = LED_RED_Pin|LED_GREEN_Pin|Mems_VL53_xshut_Pin;
  GPIO_InitStruct.Mode = GPIO_MODE_OUTPUT_PP;
  GPIO_InitStruct.Pull = GPIO_NOPULL;
  GPIO_InitStruct.Speed = GPIO_SPEED_FREQ_LOW;
  HAL_GPIO_Init(GPIOH, &GPIO_InitStruct);

  /*Configure GPIO pin : MIC_CCK1_Pin */
  GPIO_InitStruct.Pin = MIC_CCK1_Pin;
  GPIO_InitStruct.Mode = GPIO_MODE_AF_PP;
  GPIO_InitStruct.Pull = GPIO_NOPULL;
  GPIO_InitStruct.Speed = GPIO_SPEED_FREQ_LOW;
  GPIO_InitStruct.Alternate = GPIO_AF6_MDF1;
  HAL_GPIO_Init(MIC_CCK1_GPIO_Port, &GPIO_InitStruct);

  /*Configure GPIO pin : WRLS_WKUP_B_Pin */
  GPIO_InitStruct.Pin = WRLS_WKUP_B_Pin;
  GPIO_InitStruct.Mode = GPIO_MODE_OUTPUT_PP;
  GPIO_InitStruct.Pull = GPIO_NOPULL;
  GPIO_InitStruct.Speed = GPIO_SPEED_FREQ_LOW;
  HAL_GPIO_Init(WRLS_WKUP_B_GPIO_Port, &GPIO_InitStruct);

  /*Configure GPIO pins : WRLS_NOTIFY_Pin Mems_INT_IIS2MDC_Pin USB_IANA_Pin */
  GPIO_InitStruct.Pin = WRLS_NOTIFY_Pin|Mems_INT_IIS2MDC_Pin|USB_IANA_Pin;
  GPIO_InitStruct.Mode = GPIO_MODE_INPUT;
  GPIO_InitStruct.Pull = GPIO_NOPULL;
  HAL_GPIO_Init(GPIOD, &GPIO_InitStruct);

  /*Configure GPIO pins : USB_UCPD_FLT_Pin Mems_ISM330DLC_INT1_Pin */
  GPIO_InitStruct.Pin = USB_UCPD_FLT_Pin|Mems_ISM330DLC_INT1_Pin;
  GPIO_InitStruct.Mode = GPIO_MODE_INPUT;
  GPIO_InitStruct.Pull = GPIO_NOPULL;
  HAL_GPIO_Init(GPIOE, &GPIO_InitStruct);

  /*Configure GPIO pin : USB_VBUS_SENSE_Pin */
  GPIO_InitStruct.Pin = USB_VBUS_SENSE_Pin;
  GPIO_InitStruct.Mode = GPIO_MODE_INPUT;
  GPIO_InitStruct.Pull = GPIO_NOPULL;
  HAL_GPIO_Init(USB_VBUS_SENSE_GPIO_Port, &GPIO_InitStruct);

  /*Configure GPIO pins : Mems_STSAFE_RESET_Pin WRLS_WKUP_W_Pin */
  GPIO_InitStruct.Pin = Mems_STSAFE_RESET_Pin|WRLS_WKUP_W_Pin;
  GPIO_InitStruct.Mode = GPIO_MODE_OUTPUT_PP;
  GPIO_InitStruct.Pull = GPIO_NOPULL;
  GPIO_InitStruct.Speed = GPIO_SPEED_FREQ_LOW;
  HAL_GPIO_Init(GPIOF, &GPIO_InitStruct);

  /*Configure GPIO pin : MIC_SDIN0_Pin */
  GPIO_InitStruct.Pin = MIC_SDIN0_Pin;
  GPIO_InitStruct.Mode = GPIO_MODE_AF_PP;
  GPIO_InitStruct.Pull = GPIO_NOPULL;
  GPIO_InitStruct.Speed = GPIO_SPEED_FREQ_LOW;
  GPIO_InitStruct.Alternate = GPIO_AF6_MDF1;
  HAL_GPIO_Init(MIC_SDIN0_GPIO_Port, &GPIO_InitStruct);

  /* USER CODE BEGIN MX_GPIO_Init_2 */
  /* USART3 GPIO Init: PD8=TX, PD9=RX, AF7 */
  GPIO_InitStruct.Pin = GPIO_PIN_8 | GPIO_PIN_9;
  GPIO_InitStruct.Mode = GPIO_MODE_AF_PP;
  GPIO_InitStruct.Pull = GPIO_PULLUP;
  GPIO_InitStruct.Speed = GPIO_SPEED_FREQ_LOW;
  GPIO_InitStruct.Alternate = GPIO_AF7_USART3;
  HAL_GPIO_Init(GPIOD, &GPIO_InitStruct);

  /* USART1 GPIO Init: PA9=TX, PA10=RX, AF7 (VCP) */
  GPIO_InitStruct.Pin = GPIO_PIN_9 | GPIO_PIN_10;
  GPIO_InitStruct.Mode = GPIO_MODE_AF_PP;
  GPIO_InitStruct.Pull = GPIO_PULLUP;
  GPIO_InitStruct.Speed = GPIO_SPEED_FREQ_LOW;
  GPIO_InitStruct.Alternate = GPIO_AF7_USART1;
  HAL_GPIO_Init(GPIOA, &GPIO_InitStruct);
  /* USER CODE END MX_GPIO_Init_2 */
}

/* USER CODE BEGIN 4 */
/* Dashboard and pattern sending is now inline in main loop */
/* USER CODE END 4 */

void Error_Handler(void)
{
  __disable_irq();
  while (1)
  {
  }
}
